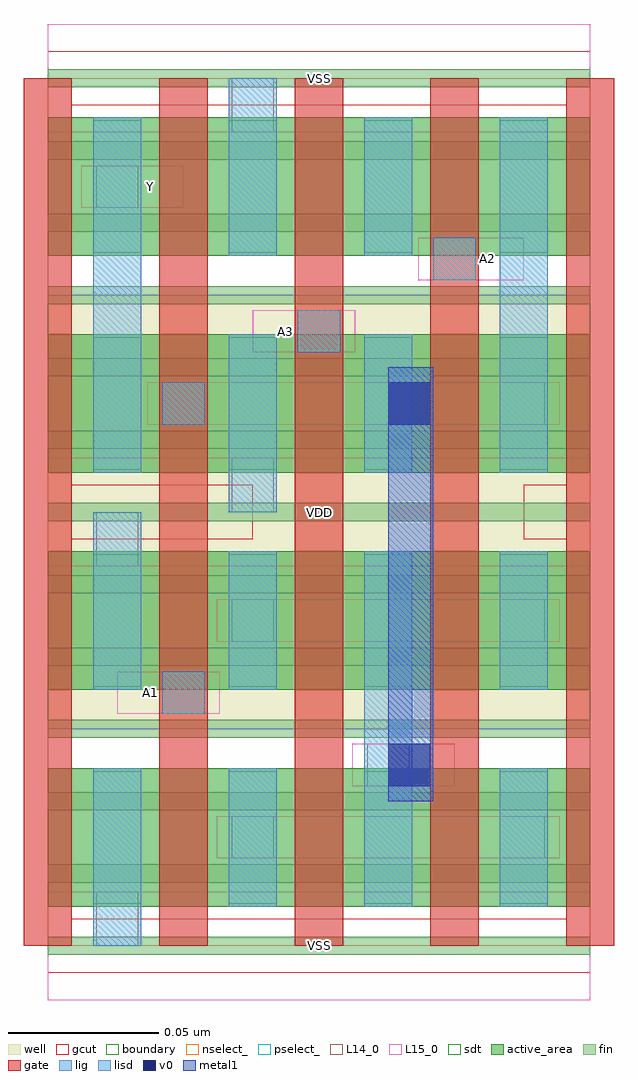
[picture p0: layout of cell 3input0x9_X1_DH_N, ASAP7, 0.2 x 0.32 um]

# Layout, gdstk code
import gdstk
lib = gdstk.Library(unit=1e-6, precision=1e-09)
def R(c, l, rs):  # rectangles x0, y0, x1, y1
    for r in rs: c.add(gdstk.rectangle(r[:2], r[2:], *l))
def A(c, l, x, y, w, h, nx, ny, dx, dy):  # array of equal rectangles
    R(c, l, [(x+i*dx, y+j*dy, x+i*dx+w, y+j*dy+h) for i in range(nx) for j in range(ny)])
def P(c, l, *ps):  # polygons
    for p in ps: c.add(gdstk.Polygon(p, *l))
well = (1, 0)
fin = (2, 0)
gate = (7, 0)
gcut = (10, 0)
active_area = (11, 0)
nselect_ = (12, 0)
pselect_ = (13, 0)
L14_0 = (14, 0)
L15_0 = (15, 0)
lig = (16, 0)
lisd = (17, 0)
v0 = (18, 0)
metal1 = (19, 0)
sdt = (88, 0)
boundary = (100, 0)

c_3input0x9_x1_dh_n = lib.new_cell('3input0x9_X1_DH_N')
R(c_3input0x9_x1_dh_n, well, [(0,0.072,0.18,0.144), (0,0.144,0.18,0.216)])
A(c_3input0x9_x1_dh_n, fin, 0, -0.003, 0.18, 0.006, 1, 13, 0, 0.024)
A(c_3input0x9_x1_dh_n, gate, -0.008, 0, 0.016, 0.288, 5, 1, 0.045, 0)
P(c_3input0x9_x1_dh_n, gcut, [(0,-0.009),(0,0),(-0.008,0),(-0.008,0.279),(0.008,0.279),(0.008,0.153),(0.068,0.153),(0.068,0.135),(0.008,0.135),(0.008,0.009),(0.172,0.009),(0.172,0.135),(0.158,0.135),(0.158,0.153),(0.172,0.153),(0.172,0.279),(-0.008,0.279),(-0.008,0.288),(0,0.288),(0,0.297),(0.18,0.297),(0.18,0.288),(0.188,0.288),(0.188,0),(0.18,0),(0.18,-0.009)])
A(c_3input0x9_x1_dh_n, active_area, 0, 0.013, 0.18, 0.046, 1, 4, 0, 0.072)
R(c_3input0x9_x1_dh_n, nselect_, [(0,0,0.18,0.072), (0,0.216,0.18,0.288)])
R(c_3input0x9_x1_dh_n, pselect_, [(0,0.072,0.18,0.144), (0,0.144,0.18,0.216)])
A(c_3input0x9_x1_dh_n, L14_0, 0.15, 0.029, 0.015, 0.014, 1, 3, 0, 0.072)
R(c_3input0x9_x1_dh_n, L14_0, [(0.016,0,0.03,0.018), (0.061,0.029,0.075,0.043), (0.106,0.053,0.12,0.067), (0.038,0.077,0.052,0.091), (0.061,0.101,0.075,0.115), (0.016,0.126,0.03,0.144), (0.061,0.144,0.075,0.162), (0.038,0.173,0.052,0.187), (0.083,0.197,0.097,0.211), (0.128,0.221,0.142,0.235), (0.016,0.245,0.03,0.259), (0.061,0.27,0.075,0.288)])
A(c_3input0x9_x1_dh_n, L15_0, 0, -0.018, 0.18, 0.036, 1, 3, 0, 0.144)
R(c_3input0x9_x1_dh_n, L15_0, [(0.056,0.029,0.17,0.043), (0.101,0.053,0.135,0.067), (0.023,0.077,0.057,0.091), (0.056,0.101,0.17,0.115), (0.033,0.173,0.17,0.187), (0.068,0.197,0.102,0.211), (0.123,0.221,0.158,0.235), (0.011,0.245,0.045,0.259)])
R(c_3input0x9_x1_dh_n, lig, [(0.038,0.077,0.052,0.091), (0.038,0.173,0.052,0.187), (0.083,0.197,0.097,0.211), (0.128,0.221,0.142,0.235)])
R(c_3input0x9_x1_dh_n, lisd, [(0.015,0,0.031,0.059), (0.06,0.013,0.076,0.059), (0.105,0.013,0.121,0.131), (0.15,0.013,0.166,0.059), (0.015,0.085,0.031,0.144), (0.06,0.085,0.076,0.131), (0.15,0.085,0.166,0.131), (0.06,0.144,0.076,0.203), (0.015,0.157,0.031,0.275), (0.105,0.157,0.121,0.203), (0.15,0.157,0.166,0.275), (0.06,0.229,0.076,0.288), (0.105,0.229,0.121,0.275)])
R(c_3input0x9_x1_dh_n, v0, [(0.113,0.053,0.127,0.067), (0.113,0.173,0.127,0.187)])
R(c_3input0x9_x1_dh_n, metal1, [(0.113,0.048,0.128,0.192)])
A(c_3input0x9_x1_dh_n, sdt, 0.015, 0.014, 0.016, 0.044, 4, 4, 0.045, 0.072)
R(c_3input0x9_x1_dh_n, boundary, [(0,0,0.18,0.288)])
c_3input0x9_x1_dh_n.add(gdstk.Label('A2', (0.146,0.228), layer=15, texttype=251))
c_3input0x9_x1_dh_n.add(gdstk.Label('VSS', (0.09,0), layer=15, texttype=251))
c_3input0x9_x1_dh_n.add(gdstk.Label('VDD', (0.09,0.144), layer=15, texttype=251))
c_3input0x9_x1_dh_n.add(gdstk.Label('VDD', (0.09,0.144), layer=15, texttype=251))
c_3input0x9_x1_dh_n.add(gdstk.Label('VSS', (0.09,0.288), layer=15, texttype=251))
c_3input0x9_x1_dh_n.add(gdstk.Label('Y', (0.034,0.252), layer=15, texttype=251))
c_3input0x9_x1_dh_n.add(gdstk.Label('VSS', (0.09,0), layer=15, texttype=251))
c_3input0x9_x1_dh_n.add(gdstk.Label('VDD', (0.09,0.144), layer=15, texttype=251))
c_3input0x9_x1_dh_n.add(gdstk.Label('VDD', (0.09,0.144), layer=15, texttype=251))
c_3input0x9_x1_dh_n.add(gdstk.Label('VSS', (0.09,0.288), layer=15, texttype=251))
c_3input0x9_x1_dh_n.add(gdstk.Label('A3', (0.079,0.204), layer=15, texttype=251))
c_3input0x9_x1_dh_n.add(gdstk.Label('VSS', (0.09,0), layer=15, texttype=251))
c_3input0x9_x1_dh_n.add(gdstk.Label('VDD', (0.09,0.144), layer=15, texttype=251))
c_3input0x9_x1_dh_n.add(gdstk.Label('VDD', (0.09,0.144), layer=15, texttype=251))
c_3input0x9_x1_dh_n.add(gdstk.Label('VSS', (0.09,0.288), layer=15, texttype=251))
c_3input0x9_x1_dh_n.add(gdstk.Label('A1', (0.034,0.084), layer=15, texttype=251))
c_3input0x9_x1_dh_n.add(gdstk.Label('VSS', (0.09,0), layer=15, texttype=251))
c_3input0x9_x1_dh_n.add(gdstk.Label('VDD', (0.09,0.144), layer=15, texttype=251))
c_3input0x9_x1_dh_n.add(gdstk.Label('VDD', (0.09,0.144), layer=15, texttype=251))
c_3input0x9_x1_dh_n.add(gdstk.Label('VSS', (0.09,0.288), layer=15, texttype=251))
c_3input0x9_x1_dh_n.add(gdstk.Label('VSS', (0.09,0), layer=3, texttype=251))
c_3input0x9_x1_dh_n.add(gdstk.Label('VSS', (0.09,0.288), layer=3, texttype=251))
c_3input0x9_x1_dh_n.add(gdstk.Label('VSS', (0.09,0), layer=3, texttype=251))
c_3input0x9_x1_dh_n.add(gdstk.Label('VSS', (0.09,0.288), layer=3, texttype=251))
c_3input0x9_x1_dh_n.add(gdstk.Label('VSS', (0.09,0), layer=3, texttype=251))
c_3input0x9_x1_dh_n.add(gdstk.Label('VSS', (0.09,0.288), layer=3, texttype=251))
c_3input0x9_x1_dh_n.add(gdstk.Label('VSS', (0.09,0), layer=3, texttype=251))
c_3input0x9_x1_dh_n.add(gdstk.Label('VSS', (0.09,0.288), layer=3, texttype=251))
c_3input0x9_x1_dh_n.add(gdstk.Label('VDD', (0.09,0.144), layer=1, texttype=251))
c_3input0x9_x1_dh_n.add(gdstk.Label('VDD', (0.09,0.144), layer=1, texttype=251))
c_3input0x9_x1_dh_n.add(gdstk.Label('VDD', (0.09,0.144), layer=1, texttype=251))
c_3input0x9_x1_dh_n.add(gdstk.Label('VDD', (0.09,0.144), layer=1, texttype=251))
c_3input0x9_x1_dh_n.add(gdstk.Label('VDD', (0.09,0.144), layer=1, texttype=251))
c_3input0x9_x1_dh_n.add(gdstk.Label('VDD', (0.09,0.144), layer=1, texttype=251))
c_3input0x9_x1_dh_n.add(gdstk.Label('VDD', (0.09,0.144), layer=1, texttype=251))
c_3input0x9_x1_dh_n.add(gdstk.Label('VDD', (0.09,0.144), layer=1, texttype=251))

lib.write_gds('3input0x9_X1_DH_N.gds')
